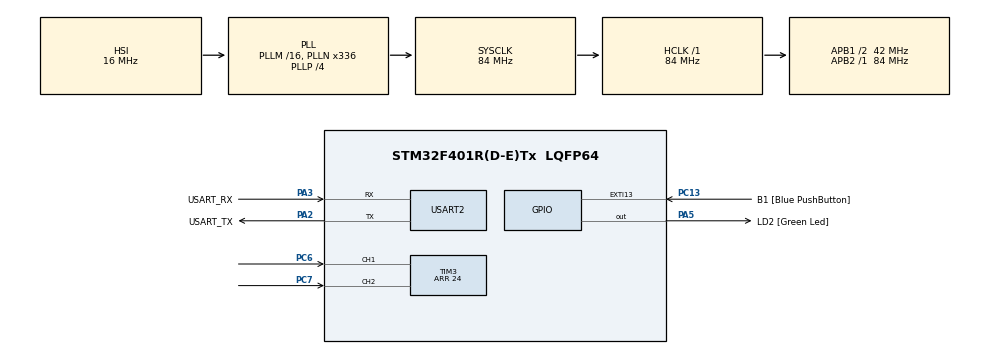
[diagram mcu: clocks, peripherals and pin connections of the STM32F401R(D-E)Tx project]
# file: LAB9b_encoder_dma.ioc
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Dma.Request0=USART2_TX
Dma.USART2_TX.0.Direction=DMA_MEMORY_TO_PERIPH
Dma.USART2_TX.0.FIFOMode=DMA_FIFOMODE_DISABLE
Dma.USART2_TX.0.Instance=DMA1_Stream6
Dma.USART2_TX.0.MemDataAlignment=DMA_MDATAALIGN_BYTE
Dma.USART2_TX.0.MemInc=DMA_MINC_ENABLE
Dma.USART2_TX.0.Mode=DMA_NORMAL
Dma.USART2_TX.0.PeriphDataAlignment=DMA_PDATAALIGN_BYTE
Dma.USART2_TX.0.PeriphInc=DMA_PINC_DISABLE
Dma.USART2_TX.0.Priority=DMA_PRIORITY_LOW
Mcu.Family=STM32F4
Mcu.Name=STM32F401R(D-E)Tx
Mcu.Package=LQFP64
NVIC.DMA1_Stream6_IRQn=true\:0\:0\:false\:false\:true\:false\:true
NVIC.PriorityGroup=NVIC_PRIORITYGROUP_1
NVIC.TIM1_UP_TIM10_IRQn=true\:1\:0\:true\:false\:true\:true\:true
NVIC.TIM3_IRQn=true\:1\:0\:true\:false\:true\:true\:true
NVIC.USART2_IRQn=true\:0\:0\:false\:false\:true\:true\:true
PA13.GPIO_Label=TMS
PA13.Mode=Serial_Wire
PA13.Signal=SYS_JTMS-SWDIO
PA14.GPIO_Label=TCK
PA14.Mode=Serial_Wire
PA14.Signal=SYS_JTCK-SWCLK
PA2.GPIO_Label=USART_TX
PA2.GPIO_Mode=GPIO_MODE_AF_PP
PA2.GPIO_PuPd=GPIO_NOPULL
PA2.GPIO_Speed=GPIO_SPEED_FREQ_LOW
PA2.Mode=Asynchronous
PA2.Signal=USART2_TX
PA3.GPIO_Label=USART_RX
PA3.GPIO_Mode=GPIO_MODE_AF_PP
PA3.GPIO_PuPd=GPIO_NOPULL
PA3.GPIO_Speed=GPIO_SPEED_FREQ_LOW
PA3.Mode=Asynchronous
PA3.Signal=USART2_RX
PA5.GPIO_Label=LD2 [Green Led]
PA5.GPIO_Mode=GPIO_MODE_OUTPUT_PP
PA5.GPIO_PuPd=GPIO_NOPULL
PA5.GPIO_Speed=GPIO_SPEED_FREQ_LOW
PA5.Signal=GPIO_Output
PB3.GPIO_Label=SWO
PB3.Signal=SYS_JTDO-SWO
PC13-ANTI_TAMP.GPIO_Label=B1 [Blue PushButton]
PC13-ANTI_TAMP.GPIO_ModeDefaultEXTI=GPIO_MODE_IT_FALLING
PC13-ANTI_TAMP.GPIO_PuPd=GPIO_NOPULL
PC13-ANTI_TAMP.Signal=GPXTI13
PC14-OSC32_IN.Mode=LSE-External-Oscillator
PC14-OSC32_IN.Signal=RCC_OSC32_IN
PC15-OSC32_OUT.Mode=LSE-External-Oscillator
PC15-OSC32_OUT.Signal=RCC_OSC32_OUT
PC6.Signal=S_TIM3_CH1
PC7.Signal=S_TIM3_CH2
PH0\ -\ OSC_IN.Mode=HSE-External-Clock-Source
PH0\ -\ OSC_IN.Signal=RCC_OSC_IN
PH1\ -\ OSC_OUT.Mode=HSE-External-Clock-Source
PH1\ -\ OSC_OUT.Signal=RCC_OSC_OUT
ProjectManager.HeapSize=0x200
ProjectManager.StackSize=0x400
ProjectManager.TargetToolchain=STM32CubeIDE
RCC.48MHZClocksFreq_Value=48000000
RCC.AHBFreq_Value=84000000
RCC.APB1CLKDivider=RCC_HCLK_DIV2
RCC.APB1Freq_Value=42000000
RCC.APB1TimFreq_Value=84000000
RCC.APB2Freq_Value=84000000
RCC.APB2TimFreq_Value=84000000
RCC.CortexFreq_Value=84000000
RCC.HCLKFreq_Value=84000000
RCC.HSE_VALUE=8000000
RCC.HSI_VALUE=16000000
RCC.PLLN=336
RCC.PLLP=RCC_PLLP_DIV4
RCC.PLLQ=7
RCC.SYSCLKFreq_VALUE=84000000
RCC.SYSCLKSource=RCC_SYSCLKSOURCE_PLLCLK
RCC.VCOOutputFreq_Value=336000000
SH.S_TIM3_CH1.0=TIM3_CH1,Encoder_Interface
SH.S_TIM3_CH2.0=TIM3_CH2,Encoder_Interface
TIM1.AutoReloadPreload=TIM_AUTORELOAD_PRELOAD_ENABLE
TIM1.Period=21000-1
TIM1.Prescaler=4000-1
TIM3.IC1Polarity=TIM_ICPOLARITY_FALLING
TIM3.Period=24
USART2.VirtualMode=VM_ASYNC
VP_TIM1_VS_ClockSourceINT.Mode=Internal
board=NUCLEO-F401RE

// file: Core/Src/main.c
/* USER CODE BEGIN Header */
/**
  ******************************************************************************
  * @file           : main.c
  * @brief          : Main program body
  ******************************************************************************
  * @attention
  *
  * <h2><center>&copy; Copyright (c) 2021 STMicroelectronics.
  * All rights reserved.</center></h2>
  *
  * This software component is licensed by ST under BSD 3-Clause license,
  * the "License"; You may not use this file except in compliance with the
  * License. You may obtain a copy of the License at:
  *                        opensource.org/licenses/BSD-3-Clause
  *
  ******************************************************************************
  */
/* USER CODE END Header */
#include "main.h"

/* USER CODE BEGIN Includes */
#include "stdio.h"
/* USER CODE END Includes */

TIM_HandleTypeDef htim1;
TIM_HandleTypeDef htim3;

UART_HandleTypeDef huart2;
DMA_HandleTypeDef hdma_usart2_tx;

/* USER CODE BEGIN PV */
volatile int8_t encoderOverUnderFlow = 0;

/* USER CODE END PV */

void SystemClock_Config(void);
static void MX_GPIO_Init(void);
static void MX_USART2_UART_Init(void);
static void MX_TIM1_Init(void);
static void MX_DMA_Init(void);
static void MX_TIM3_Init(void);

/* USER CODE BEGIN 0 */

/* A WORD ON OVERFLOWS
 *
 * Simply put: you cannot avoid overflows. You can mitigate them, yes, but you
 * cannot avoid them. How can you mitigate your overflows? Using a bigger counter!
 * More bits -> less overflow. So, one approach would be to use a 32 bit timer
 * instead of a 16 bit one, as in tim3 case. Unfortunately, we are constrained in
 * this sense by the fact that the encoder is already connected to certain pins.
 * Bad choice if overflows are a problem, but that's what we have to work with.
 * As a fallback, we could "extend" the timer in software. For example, we could
 * use the interrupt feature of the timer to increment or decrement a 16 bit
 * variable, so that we basically get the same as a 32 bit timer, but usign the
 * software. This clearly is just a mitigation, and one important assumption here
 * is that we do not miss an interrupt, and that less than 2 overflows occur in
 * the worst possible preemption scenario (this depends both on the system and on
 * the encoder). At some point, even our extended 32 bit timer will eventually
 * overflow.
 * In our particular case, we are interested in the speed, thus we can erase our
 * counter every read. so the sizing of our extenion bits depends on a particular
 * question: how many overflows can we expect in the timespan of a read (1 sec)?
 *
 *
 */
void HAL_TIM_PeriodElapsedCallback(TIM_HandleTypeDef *htim) {
	/* this approach does not work, i'm not sure why.
	 *
	 * if (htim->Instance == htim3.Instance) { // overflow
		int16_t count = (int16_t) __HAL_TIM_GET_COUNTER(&htim3);
		if(count >= 0){
			// an underflow happend
		}
		else{
			// an overflow happend
		}
	}*/
	if (htim->Instance == htim1.Instance) {
	  static int16_t old;
	  static int16_t new = 0;
	  old = new;
	  new = (int16_t) __HAL_TIM_GET_COUNTER(&htim3);

	  char message[100];
	  int length = snprintf(message, 100, "%f\r\n", ( ((int16_t)(encoderOverUnderFlow*htim3.Init.Period)) + (new-old))*(60/24.0) );
	  encoderOverUnderFlow = 0; // resolve the under/overflow as it's been taken care of
	  HAL_UART_Transmit_DMA(&huart2, (uint8_t *) message, length);
	}
}
/* USER CODE END 0 */

int main(void)
{

  /* MCU Configuration--------------------------------------------------------*/

  /* Reset of all peripherals, Initializes the Flash interface and the Systick. */
  HAL_Init();

  /* Configure the system clock */
  SystemClock_Config();

  /* USER CODE BEGIN SysInit */

  MX_DMA_Init();
  /* USER CODE END SysInit */

  /* Initialize all configured peripherals */
  MX_GPIO_Init();
  MX_USART2_UART_Init();
  MX_TIM1_Init();
  MX_DMA_Init();
  MX_TIM3_Init();
  /* USER CODE BEGIN 2 */
 if(HAL_TIM_Encoder_Start(&htim3, TIM_CHANNEL_ALL) != HAL_OK){
	  Error_Handler();
  }
 if(HAL_TIM_Base_Start_IT(&htim1) != HAL_OK){
	  Error_Handler();
  }
  /* USER CODE END 2 */

  /* Infinite loop */
  while (1)
  {

  }
}

void SystemClock_Config(void)
{
  RCC_OscInitTypeDef RCC_OscInitStruct = {0};
  RCC_ClkInitTypeDef RCC_ClkInitStruct = {0};

  /** Configure the main internal regulator output voltage
  */
  __HAL_RCC_PWR_CLK_ENABLE();
  __HAL_PWR_VOLTAGESCALING_CONFIG(PWR_REGULATOR_VOLTAGE_SCALE2);
  /** Initializes the RCC Oscillators according to the specified parameters
  * in the RCC_OscInitTypeDef structure.
  */
  RCC_OscInitStruct.OscillatorType = RCC_OSCILLATORTYPE_HSI;
  RCC_OscInitStruct.HSIState = RCC_HSI_ON;
  RCC_OscInitStruct.HSICalibrationValue = RCC_HSICALIBRATION_DEFAULT;
  RCC_OscInitStruct.PLL.PLLState = RCC_PLL_ON;
  RCC_OscInitStruct.PLL.PLLSource = RCC_PLLSOURCE_HSI;
  RCC_OscInitStruct.PLL.PLLM = 16;
  RCC_OscInitStruct.PLL.PLLN = 336;
  RCC_OscInitStruct.PLL.PLLP = RCC_PLLP_DIV4;
  RCC_OscInitStruct.PLL.PLLQ = 7;
  if (HAL_RCC_OscConfig(&RCC_OscInitStruct) != HAL_OK)
  {
    Error_Handler();
  }
  /** Initializes the CPU, AHB and APB buses clocks
  */
  RCC_ClkInitStruct.ClockType = RCC_CLOCKTYPE_HCLK|RCC_CLOCKTYPE_SYSCLK
                              |RCC_CLOCKTYPE_PCLK1|RCC_CLOCKTYPE_PCLK2;
  RCC_ClkInitStruct.SYSCLKSource = RCC_SYSCLKSOURCE_PLLCLK;
  RCC_ClkInitStruct.AHBCLKDivider = RCC_SYSCLK_DIV1;
  RCC_ClkInitStruct.APB1CLKDivider = RCC_HCLK_DIV2;
  RCC_ClkInitStruct.APB2CLKDivider = RCC_HCLK_DIV1;

  if (HAL_RCC_ClockConfig(&RCC_ClkInitStruct, FLASH_LATENCY_2) != HAL_OK)
  {
    Error_Handler();
  }
}

static void MX_TIM1_Init(void)
{

  TIM_ClockConfigTypeDef sClockSourceConfig = {0};
  TIM_MasterConfigTypeDef sMasterConfig = {0};

  htim1.Instance = TIM1;
  htim1.Init.Prescaler = 4000-1;
  htim1.Init.CounterMode = TIM_COUNTERMODE_UP;
  htim1.Init.Period = 21000-1;
  htim1.Init.ClockDivision = TIM_CLOCKDIVISION_DIV1;
  htim1.Init.RepetitionCounter = 0;
  htim1.Init.AutoReloadPreload = TIM_AUTORELOAD_PRELOAD_ENABLE;
  if (HAL_TIM_Base_Init(&htim1) != HAL_OK)
  {
    Error_Handler();
  }
  sClockSourceConfig.ClockSource = TIM_CLOCKSOURCE_INTERNAL;
  if (HAL_TIM_ConfigClockSource(&htim1, &sClockSourceConfig) != HAL_OK)
  {
    Error_Handler();
  }
  sMasterConfig.MasterOutputTrigger = TIM_TRGO_RESET;
  sMasterConfig.MasterSlaveMode = TIM_MASTERSLAVEMODE_DISABLE;
  if (HAL_TIMEx_MasterConfigSynchronization(&htim1, &sMasterConfig) != HAL_OK)
  {
    Error_Handler();
  }

}

static void MX_TIM3_Init(void)
{

  TIM_Encoder_InitTypeDef sConfig = {0};
  TIM_MasterConfigTypeDef sMasterConfig = {0};

  htim3.Instance = TIM3;
  htim3.Init.Prescaler = 0;
  htim3.Init.CounterMode = TIM_COUNTERMODE_UP;
  htim3.Init.Period = 24;
  htim3.Init.ClockDivision = TIM_CLOCKDIVISION_DIV1;
  htim3.Init.AutoReloadPreload = TIM_AUTORELOAD_PRELOAD_DISABLE;
  sConfig.EncoderMode = TIM_ENCODERMODE_TI1;
  sConfig.IC1Polarity = TIM_ICPOLARITY_FALLING;
  sConfig.IC1Selection = TIM_ICSELECTION_DIRECTTI;
  sConfig.IC1Prescaler = TIM_ICPSC_DIV1;
  sConfig.IC1Filter = 0;
  sConfig.IC2Polarity = TIM_ICPOLARITY_RISING;
  sConfig.IC2Selection = TIM_ICSELECTION_DIRECTTI;
  sConfig.IC2Prescaler = TIM_ICPSC_DIV1;
  sConfig.IC2Filter = 0;
  if (HAL_TIM_Encoder_Init(&htim3, &sConfig) != HAL_OK)
  {
    Error_Handler();
  }
  sMasterConfig.MasterOutputTrigger = TIM_TRGO_RESET;
  sMasterConfig.MasterSlaveMode = TIM_MASTERSLAVEMODE_DISABLE;
  if (HAL_TIMEx_MasterConfigSynchronization(&htim3, &sMasterConfig) != HAL_OK)
  {
    Error_Handler();
  }

}

static void MX_USART2_UART_Init(void)
{

  huart2.Instance = USART2;
  huart2.Init.BaudRate = 115200;
  huart2.Init.WordLength = UART_WORDLENGTH_8B;
  huart2.Init.StopBits = UART_STOPBITS_1;
  huart2.Init.Parity = UART_PARITY_NONE;
  huart2.Init.Mode = UART_MODE_TX_RX;
  huart2.Init.HwFlowCtl = UART_HWCONTROL_NONE;
  huart2.Init.OverSampling = UART_OVERSAMPLING_16;
  if (HAL_UART_Init(&huart2) != HAL_OK)
  {
    Error_Handler();
  }

}

static void MX_DMA_Init(void)
{

  /* DMA controller clock enable */
  __HAL_RCC_DMA1_CLK_ENABLE();

  /* DMA interrupt init */
  /* DMA1_Stream6_IRQn interrupt configuration */
  HAL_NVIC_SetPriority(DMA1_Stream6_IRQn, 0, 0);
  HAL_NVIC_EnableIRQ(DMA1_Stream6_IRQn);

}

static void MX_GPIO_Init(void)
{
  GPIO_InitTypeDef GPIO_InitStruct = {0};

  /* GPIO Ports Clock Enable */
  __HAL_RCC_GPIOC_CLK_ENABLE();
  __HAL_RCC_GPIOH_CLK_ENABLE();
  __HAL_RCC_GPIOA_CLK_ENABLE();
  __HAL_RCC_GPIOB_CLK_ENABLE();

  /*Configure GPIO pin Output Level */
  HAL_GPIO_WritePin(LD2_GPIO_Port, LD2_Pin, GPIO_PIN_RESET);

  /*Configure GPIO pin : B1_Pin */
  GPIO_InitStruct.Pin = B1_Pin;
  GPIO_InitStruct.Mode = GPIO_MODE_IT_FALLING;
  GPIO_InitStruct.Pull = GPIO_NOPULL;
  HAL_GPIO_Init(B1_GPIO_Port, &GPIO_InitStruct);

  /*Configure GPIO pin : LD2_Pin */
  GPIO_InitStruct.Pin = LD2_Pin;
  GPIO_InitStruct.Mode = GPIO_MODE_OUTPUT_PP;
  GPIO_InitStruct.Pull = GPIO_NOPULL;
  GPIO_InitStruct.Speed = GPIO_SPEED_FREQ_LOW;
  HAL_GPIO_Init(LD2_GPIO_Port, &GPIO_InitStruct);

}

void Error_Handler(void)
{
  __disable_irq();
  while (1)
  {
  }
}

/************************ (C) COPYRIGHT STMicroelectronics *****END OF FILE****/
